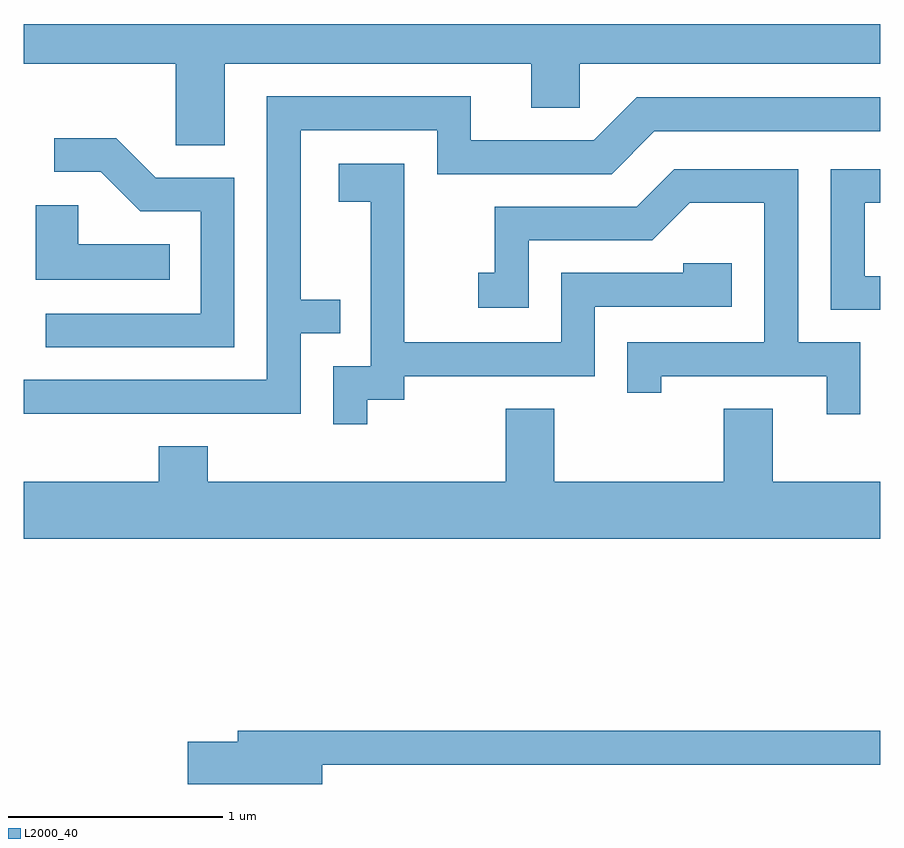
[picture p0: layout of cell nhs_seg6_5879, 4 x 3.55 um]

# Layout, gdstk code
import gdstk
lib = gdstk.Library(unit=1e-6, precision=1e-09)
def P(c, l, *ps):  # polygons
    for p in ps: c.add(gdstk.Polygon(p, *l))
L2000_40 = (2000, 40)

nhs_seg6_5879 = lib.new_cell('nhs_seg6_5879')
P(nhs_seg6_5879, L2000_40, [(364.549,1609.976),(365.981,1609.976),(365.981,1609.771),(366.209,1609.771),(366.209,1609.976),(367.611,1609.976),(367.611,1610.162),(363.611,1610.162),(363.611,1609.976),(364.321,1609.976),(364.321,1609.596),(364.549,1609.596)],
  [(364.904,1608.716),(365.088,1608.716),(365.088,1608.874),(364.904,1608.874),(364.904,1609.666),(365.541,1609.666),(365.541,1609.461),(366.357,1609.461),(366.557,1609.661),(367.611,1609.661),(367.611,1609.819),(366.474,1609.819),(366.274,1609.619),(365.699,1609.619),(365.699,1609.824),(364.746,1609.824),(364.746,1608.499),(363.611,1608.499),(363.611,1608.341),(364.904,1608.341)],
  [(364.594,1609.444),(364.227,1609.444),(364.042,1609.629),(363.753,1609.629),(363.753,1609.471),(363.969,1609.471),(364.154,1609.286),(364.436,1609.286),(364.436,1608.809),(363.713,1608.809),(363.713,1608.651),(364.594,1608.651)],
  [(365.214,1608.406),(365.389,1608.406),(365.389,1608.516),(366.279,1608.516),(366.279,1608.841),(366.919,1608.841),(366.919,1609.044),(366.691,1609.044),(366.691,1608.999),(366.121,1608.999),(366.121,1608.674),(365.389,1608.674),(365.389,1609.509),(365.081,1609.509),(365.081,1609.331),(365.231,1609.331),(365.231,1608.564),(365.056,1608.564),(365.056,1608.293),(365.214,1608.293)],
  [(367.519,1608.674),(367.229,1608.674),(367.229,1609.484),(366.649,1609.484),(366.474,1609.309),(365.811,1609.309),(365.811,1608.999),(365.733,1608.999),(365.733,1608.836),(365.969,1608.836),(365.969,1609.151),(366.547,1609.151),(366.722,1609.326),(367.071,1609.326),(367.071,1608.674),(366.431,1608.674),(366.431,1608.438),(366.589,1608.438),(366.589,1608.516),(367.361,1608.516),(367.361,1608.338),(367.519,1608.338)],
  [(367.611,1608.984),(367.539,1608.984),(367.539,1609.326),(367.611,1609.326),(367.611,1609.484),(367.381,1609.484),(367.381,1608.826),(367.611,1608.826)],
  [(364.293,1609.134),(363.864,1609.134),(363.864,1609.314),(363.666,1609.314),(363.666,1608.966),(364.293,1608.966)],
  [(367.611,1608.024),(367.109,1608.024),(367.109,1608.364),(366.881,1608.364),(366.881,1608.024),(366.089,1608.024),(366.089,1608.364),(365.861,1608.364),(365.861,1608.024),(364.469,1608.024),(364.469,1608.189),(364.241,1608.189),(364.241,1608.024),(363.611,1608.024),(363.611,1607.756),(367.611,1607.756)],
  [(365.004,1606.701),(367.611,1606.701),(367.611,1606.859),(364.611,1606.859),(364.611,1606.809),(364.376,1606.809),(364.376,1606.611),(365.004,1606.611)])

lib.write_gds('nhs_seg6_5879.gds')
